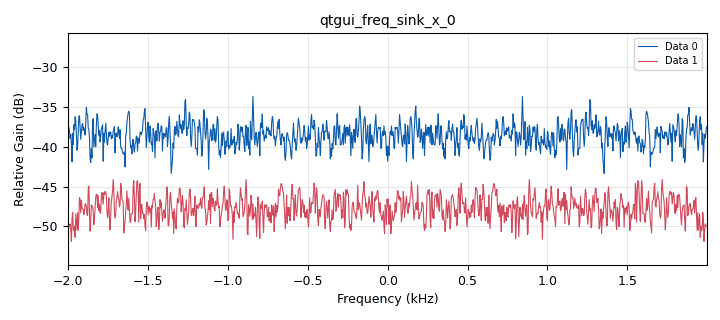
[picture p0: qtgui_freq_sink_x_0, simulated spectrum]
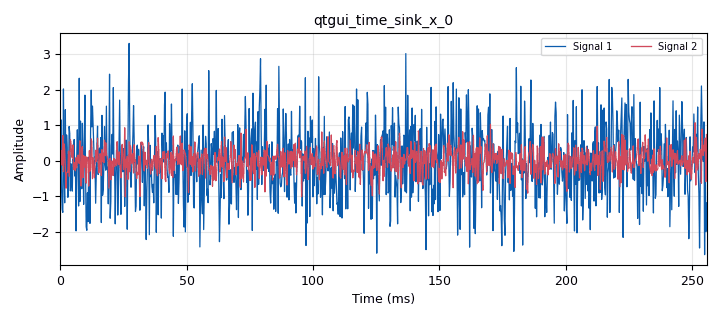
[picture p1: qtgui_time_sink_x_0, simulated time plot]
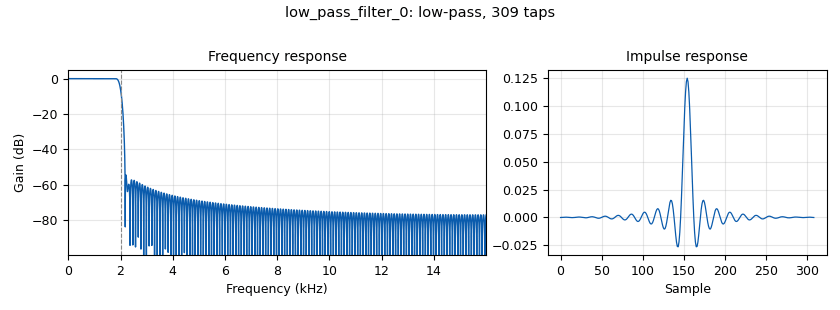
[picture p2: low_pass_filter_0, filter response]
options:
  parameters:
    generate_options: qt_gui
    id: noise_aliasing_1_5
    output_language: python
    title: Chapter1 Figure1.13
  states: {}

blocks:
- name: N1
  id: variable
  parameters:
    value: '8'
  states: {}
- name: N2
  id: variable
  parameters:
    value: '2'
  states: {}
- name: samp_rate
  id: variable
  parameters:
    value: '32000'
  states: {}
- name: analog_noise_source_x_0
  id: analog_noise_source_x
  parameters:
    amp: '1'
    noise_type: analog.GR_GAUSSIAN
    seed: '0'
    type: float
  states: {}
- name: blocks_keep_one_in_n_1
  id: blocks_keep_one_in_n
  parameters:
    n: N1
    type: float
  states: {}
- name: blocks_throttle2_2
  id: blocks_throttle2
  parameters:
    samples_per_second: samp_rate
    type: float
  states: {}
- name: low_pass_filter_0
  id: low_pass_filter
  parameters:
    cutoff_freq: samp_rate/2/N1
    decim: N1
    gain: '1'
    samp_rate: samp_rate
    type: fir_filter_fff
    width: samp_rate/128
    win: window.WIN_HAMMING
  states: {}
- name: qtgui_freq_sink_x_0
  id: qtgui_freq_sink_x
  parameters:
    autoscale: 'True'
    average: '0.05'
    bw: samp_rate/N1
    fc: '0'
    fftsize: '1024'
    nconnections: '2'
    type: float
  states: {}
- name: qtgui_time_sink_x_0
  id: qtgui_time_sink_x
  parameters:
    autoscale: 'True'
    nconnections: '2'
    size: '1024'
    srate: samp_rate/N1
    type: float
  states: {}

connections:
- [analog_noise_source_x_0, '0', blocks_throttle2_2, '0']
- [analog_noise_source_x_0, '0', low_pass_filter_0, '0']
- [blocks_keep_one_in_n_1, '0', qtgui_freq_sink_x_0, '0']
- [blocks_keep_one_in_n_1, '0', qtgui_time_sink_x_0, '0']
- [blocks_throttle2_2, '0', blocks_keep_one_in_n_1, '0']
- [low_pass_filter_0, '0', qtgui_freq_sink_x_0, '1']
- [low_pass_filter_0, '0', qtgui_time_sink_x_0, '1']

metadata:
  file_format: 1
  grc_version: 3.10.12.0
